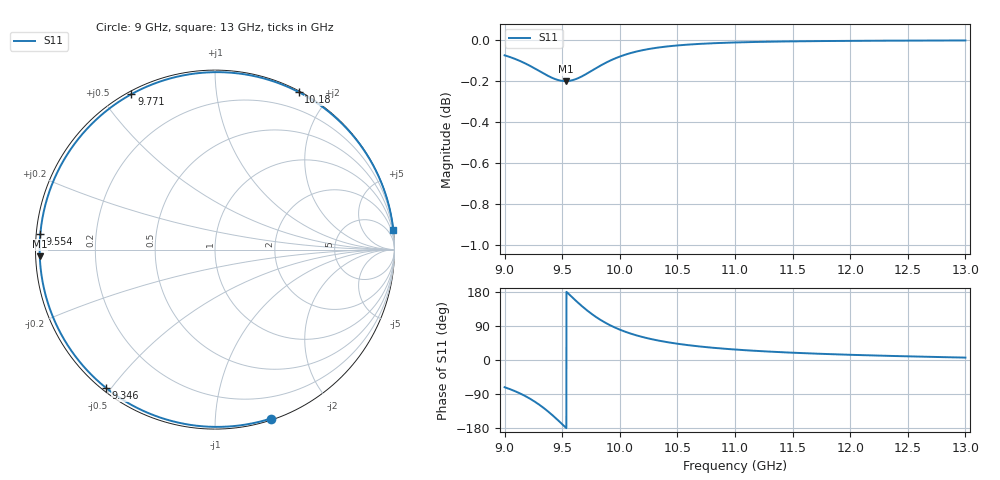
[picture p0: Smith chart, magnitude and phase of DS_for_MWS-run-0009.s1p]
! TOUCHSTONE file generated by CST DESIGN STUDIO
! Date and time: Tue Feb  4 17:11:14 2025
! Project name: C:\Work\MatlabApps\UnitCellOptimizationMatlab\CST\unitcell.cst
! Tree item: Tasks\Sweep1\SPara1\S-Parameters
! Header version: 2024
! Port assignment regex: !\s*Touchstone port\s*([0-9]+)\s*=\s*(CST MWS port|CST DES external port|CST DES block port)\s*(.+)\s* \(\"(.*)\"\)(\s*mode\s*([0-9]+))?.*
! Touchstone port assignment:
! Touchstone port 1 = CST DES external port 1 ("")
# GHz S MA R 50
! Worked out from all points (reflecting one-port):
!   4001 points, 9 GHz to 13 GHz, reference 50 ohm
!   lowest |S11| = -0.2 dB at 9.529 GHz (marker M1), VSWR 86.20, Z = 0.58 - j0.962 ohm
!   phase of S11 starts at -72 deg and turns -282 deg over the sweep
!   S11 on the Smith chart (normalised r, x): 9 GHz: 0.01, -1.38; 9.346 GHz: 0.01, -0.49; 9.554 GHz: 0.01, +0.04; 9.771 GHz: 0.01, +0.60; 10.18 GHz: 0.01, +1.66; 13 GHz: 0, +18
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9  0.9913 -71.8
9.096  0.9891 -83.0
9.203  0.986 -99.1
9.278  0.9834 -113.2
9.346  0.981 -128.2
9.419  0.9787 -146.7
9.461  0.9777 -158.2
9.5  0.9772 -169.4
9.529  0.9771 -177.8
9.554  0.9772 174.9
9.608  0.9779 159.4
9.669  0.9796 142.7
9.72  0.9814 129.9
9.771  0.9833 118.3
9.819  0.9851 108.4
9.872  0.9869 98.8
9.931  0.9888 89.4
10  0.9906 80.1
10.086  0.9924 70.5
10.18  0.9939 62.0
10.326  0.9955 51.8
10.5  0.9968 42.9
10.721  0.9977 34.8
11  0.9984 27.6
11.5  0.999 19.2
12  0.9993 13.7
12.5  0.9995 9.7
13  0.9995 6.3
